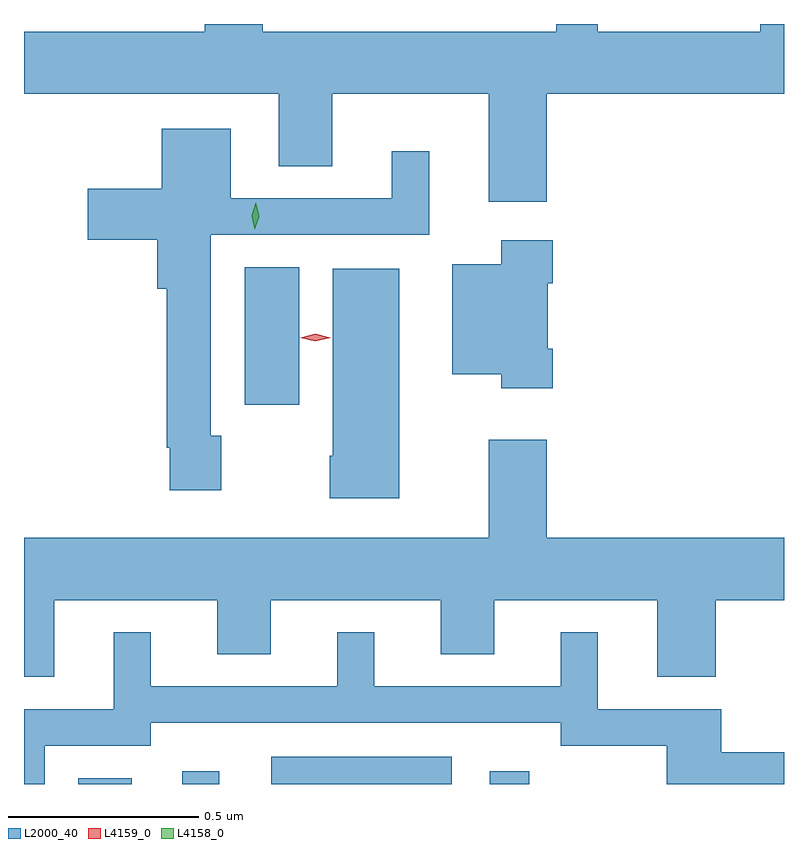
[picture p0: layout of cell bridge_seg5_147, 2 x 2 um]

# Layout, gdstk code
import gdstk
lib = gdstk.Library(unit=1e-6, precision=1e-09)
def R(c, l, rs):  # rectangles x0, y0, x1, y1
    for r in rs: c.add(gdstk.rectangle(r[:2], r[2:], *l))
def P(c, l, *ps):  # polygons
    for p in ps: c.add(gdstk.Polygon(p, *l))
L2000_40 = (2000, 40)
L4158_0 = (4158, 0)
L4159_0 = (4159, 0)

bridge_seg5_147 = lib.new_cell('bridge_seg5_147')
R(bridge_seg5_147, L2000_40, [(350.951,893.572,351.091,893.587), (351.224,893.572,351.322,893.605), (351.459,893.572,351.934,893.644), (352.034,893.572,352.138,893.605), (351.389,894.57,351.532,894.932)])
P(bridge_seg5_147, L2000_40, [(352.184,895.388),(352.808,895.388),(352.808,895.572),(352.745,895.572),(352.745,895.552),(352.318,895.552),(352.318,895.572),(352.208,895.572),(352.208,895.552),(351.436,895.552),(351.436,895.572),(351.284,895.572),(351.284,895.552),(350.808,895.552),(350.808,895.388),(351.479,895.388),(351.479,895.198),(351.619,895.198),(351.619,895.388),(352.031,895.388),(352.031,895.104),(352.184,895.104)],
  [(351.327,894.489),(351.3,894.489),(351.3,895.017),(351.874,895.017),(351.874,895.237),(351.776,895.237),(351.776,895.113),(351.352,895.113),(351.352,895.297),(351.17,895.297),(351.17,895.138),(350.976,895.138),(350.976,895.004),(351.158,895.004),(351.158,894.875),(351.184,894.875),(351.184,894.457),(351.192,894.457),(351.192,894.345),(351.327,894.345)],
  [(352.199,894.718),(352.186,894.718),(352.186,894.89),(352.199,894.89),(352.199,895.003),(352.064,895.003),(352.064,894.94),(351.935,894.94),(351.935,894.65),(352.064,894.65),(352.064,894.614),(352.199,894.614)],
  [(351.796,894.928),(351.62,894.928),(351.62,894.436),(351.613,894.436),(351.613,894.324),(351.796,894.324)],
  [(350.887,894.056),(351.317,894.056),(351.317,893.914),(351.457,893.914),(351.457,894.056),(351.905,894.056),(351.905,893.914),(352.045,893.914),(352.045,894.056),(352.475,894.056),(352.475,893.854),(352.628,893.854),(352.628,894.056),(352.808,894.056),(352.808,894.22),(352.184,894.22),(352.184,894.478),(352.031,894.478),(352.031,894.22),(350.808,894.22),(350.808,893.854),(350.887,893.854)],
  [(350.862,893.673),(351.141,893.673),(351.141,893.733),(352.221,893.733),(352.221,893.673),(352.5,893.673),(352.5,893.572),(352.808,893.572),(352.808,893.655),(352.643,893.655),(352.643,893.769),(352.318,893.769),(352.318,893.971),(352.22,893.971),(352.22,893.829),(351.73,893.829),(351.73,893.971),(351.632,893.971),(351.632,893.829),(351.142,893.829),(351.142,893.971),(351.044,893.971),(351.044,893.769),(350.808,893.769),(350.808,893.572),(350.862,893.572)])
P(bridge_seg5_147, L4158_0, [(351.415,895.032),(351.415,895.032),(351.407,895.067),(351.418,895.101),(351.418,895.102),(351.418,895.101),(351.427,895.066),(351.415,895.032)])
P(bridge_seg5_147, L4159_0, [(351.575,894.737),(351.535,894.746),(351.535,894.747),(351.535,894.747),(351.575,894.757),(351.615,894.747),(351.615,894.747),(351.615,894.746)])

lib.write_gds('bridge_seg5_147.gds')
